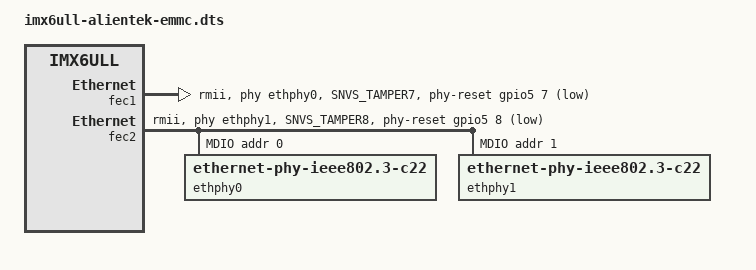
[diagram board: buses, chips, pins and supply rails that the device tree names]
/*
 * Copyright 2019 NXP
 *
 * This program is free software; you can redistribute it and/or
 * modify it under the terms of the GNU General Public License
 * as published by the Free Software Foundation; either version 2
 * of the License, or (at your option) any later version.
 */

#include "imx6ull-14x14-evk-emmc.dts"

&fec1 {
	pinctrl-names = "default";
    pinctrl-0 = <&pinctrl_enet1
                &pinctrl_enet1_reset
    >;
    phy-mode = "rmii";
    phy-handle = <&ethphy0>;
    phy-reset-gpios = <&gpio5 7 GPIO_ACTIVE_LOW>;
    phy-reset-duration = <200>;
    status = "okay";

    mac-address = [00 04 9f 04 d2 36];
};

&fec2 {
	pinctrl-names = "default";
    pinctrl-0 = <&pinctrl_enet2
                &pinctrl_enet2_reset
    >;
    phy-mode = "rmii";
    phy-handle = <&ethphy1>;
    phy-reset-gpios = <&gpio5 8 GPIO_ACTIVE_LOW>;
    phy-reset-duration = <200>;
    status = "okay";

    mac-address = [00 04 9f 04 d2 35];

    mdio {
        #address-cells = <1>;
        #size-cells = <0>;
 
        ethphy0: ethernet-phy@0 {
            compatible = "ethernet-phy-ieee802.3-c22";
            smsc,disable-energy-detect;
            reg = <0>;
        };

        ethphy1: ethernet-phy@1 {
            compatible = "ethernet-phy-ieee802.3-c22";
            smsc,disable-energy-detect;
            reg = <1>;
        };
    };
};

&iomuxc {
	pinctrl_enet1_reset: enet1resetgrp {
		fsl,pins = <
			MX6UL_PAD_SNVS_TAMPER7__GPIO5_IO07   0x10B0
		>;
	};
    pinctrl_enet2_reset: enet2resetgrp {
		fsl,pins = <
			MX6UL_PAD_SNVS_TAMPER8__GPIO5_IO08   0x10B0
		>;
	};
};

&display0 {
        bits-per-pixel = <24>;
        bus-width = <24>;

        display-timings {
            timing0 {
                clock-frequency = <33300000>;
                hactive = <800>;
                vactive = <480>;
                hfront-porch = <210>;
                hback-porch = <46>;
                hsync-len = <1>;
                vback-porch = <23>;
                vfront-porch = <22>;
                vsync-len = <1>;

                hsync-active = <0>;
                vsync-active = <0>;
                de-active = <1>;
                pixelclk-active = <0>;
            };
        };
};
